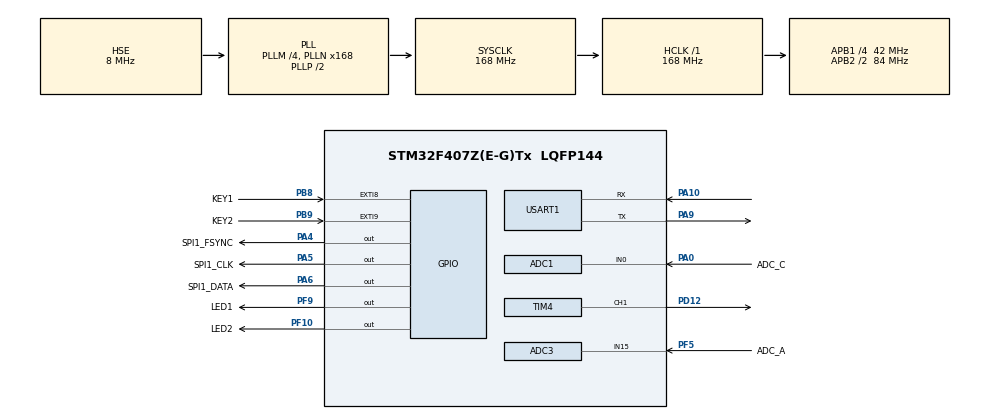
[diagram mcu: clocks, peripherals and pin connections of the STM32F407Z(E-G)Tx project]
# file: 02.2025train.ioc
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ADC1.Channel-0\#ChannelRegularConversion=ADC_CHANNEL_0
ADC1.DMAContinuousRequests=ENABLE
ADC1.ExternalTrigConv=ADC_EXTERNALTRIGCONV_T3_TRGO
ADC1.InjNumberOfConversion=0
ADC1.Mode=__NULL
ADC1.NbrOfConversion=1
ADC1.NbrOfConversionFlag=1
ADC1.Rank-0\#ChannelRegularConversion=1
ADC1.SamplingTime-0\#ChannelRegularConversion=ADC_SAMPLETIME_3CYCLES
ADC1.ScanConvMode=DISABLE
ADC1.master=1
ADC3.Channel-0\#ChannelRegularConversion=ADC_CHANNEL_15
ADC3.DMAContinuousRequests=ENABLE
ADC3.ExternalTrigConv=ADC_EXTERNALTRIGCONV_T3_TRGO
ADC3.NbrOfConversionFlag=1
ADC3.Rank-0\#ChannelRegularConversion=1
ADC3.SamplingTime-0\#ChannelRegularConversion=ADC_SAMPLETIME_3CYCLES
Dma.ADC1.0.Direction=DMA_PERIPH_TO_MEMORY
Dma.ADC1.0.FIFOMode=DMA_FIFOMODE_DISABLE
Dma.ADC1.0.Instance=DMA2_Stream0
Dma.ADC1.0.MemDataAlignment=DMA_MDATAALIGN_HALFWORD
Dma.ADC1.0.MemInc=DMA_MINC_ENABLE
Dma.ADC1.0.Mode=DMA_NORMAL
Dma.ADC1.0.PeriphDataAlignment=DMA_PDATAALIGN_HALFWORD
Dma.ADC1.0.PeriphInc=DMA_PINC_DISABLE
Dma.ADC1.0.Priority=DMA_PRIORITY_VERY_HIGH
Dma.ADC3.1.Direction=DMA_PERIPH_TO_MEMORY
Dma.ADC3.1.FIFOMode=DMA_FIFOMODE_DISABLE
Dma.ADC3.1.Instance=DMA2_Stream1
Dma.ADC3.1.MemDataAlignment=DMA_MDATAALIGN_HALFWORD
Dma.ADC3.1.MemInc=DMA_MINC_ENABLE
Dma.ADC3.1.Mode=DMA_NORMAL
Dma.ADC3.1.PeriphDataAlignment=DMA_PDATAALIGN_HALFWORD
Dma.ADC3.1.PeriphInc=DMA_PINC_DISABLE
Dma.ADC3.1.Priority=DMA_PRIORITY_VERY_HIGH
Dma.Request0=ADC1
Dma.Request1=ADC3
Mcu.Family=STM32F4
Mcu.Name=STM32F407Z(E-G)Tx
Mcu.Package=LQFP144
NVIC.DMA2_Stream0_IRQn=true\:0\:0\:false\:false\:true\:false\:true\:true
NVIC.DMA2_Stream1_IRQn=true\:0\:0\:false\:false\:true\:false\:true\:true
NVIC.EXTI9_5_IRQn=true\:1\:0\:true\:false\:true\:true\:true\:true
NVIC.PriorityGroup=NVIC_PRIORITYGROUP_4
NVIC.USART1_IRQn=true\:1\:0\:true\:false\:true\:true\:true\:true
PA0-WKUP.GPIO_Label=ADC_C
PA0-WKUP.Signal=ADCx_IN0
PA10.Mode=Asynchronous
PA10.Signal=USART1_RX
PA13.Mode=Serial_Wire
PA13.Signal=SYS_JTMS-SWDIO
PA14.Mode=Serial_Wire
PA14.Signal=SYS_JTCK-SWCLK
PA4.GPIO_Label=SPI1_FSYNC
PA4.GPIO_Speed=GPIO_SPEED_FREQ_VERY_HIGH
PA4.PinState=GPIO_PIN_SET
PA4.Signal=GPIO_Output
PA5.GPIO_Label=SPI1_CLK
PA5.GPIO_Speed=GPIO_SPEED_FREQ_VERY_HIGH
PA5.PinState=GPIO_PIN_RESET
PA5.Signal=GPIO_Output
PA6.GPIO_Label=SPI1_DATA
PA6.GPIO_Speed=GPIO_SPEED_FREQ_VERY_HIGH
PA6.Signal=GPIO_Output
PA9.Mode=Asynchronous
PA9.Signal=USART1_TX
PB8.GPIO_Label=KEY1
PB8.GPIO_ModeDefaultEXTI=GPIO_MODE_IT_RISING_FALLING
PB8.GPIO_PuPd=GPIO_PULLUP
PB8.Signal=GPXTI8
PB9.GPIO_Label=KEY2
PB9.GPIO_ModeDefaultEXTI=GPIO_MODE_IT_RISING_FALLING
PB9.GPIO_PuPd=GPIO_PULLUP
PB9.Signal=GPXTI9
PD12.Signal=S_TIM4_CH1
PF10.GPIO_Label=LED2
PF10.GPIO_Speed=GPIO_SPEED_FREQ_VERY_HIGH
PF10.PinState=GPIO_PIN_SET
PF10.Signal=GPIO_Output
PF5.GPIO_Label=ADC_A
PF5.Mode=IN15
PF5.Signal=ADC3_IN15
PF9.GPIO_Label=LED1
PF9.GPIO_Speed=GPIO_SPEED_FREQ_VERY_HIGH
PF9.PinState=GPIO_PIN_SET
PF9.Signal=GPIO_Output
PH0-OSC_IN.Mode=HSE-External-Oscillator
PH0-OSC_IN.Signal=RCC_OSC_IN
PH1-OSC_OUT.Mode=HSE-External-Oscillator
PH1-OSC_OUT.Signal=RCC_OSC_OUT
ProjectManager.HeapSize=0x200
ProjectManager.StackSize=0x400
ProjectManager.TargetToolchain=MDK-ARM V5.32
RCC.48MHZClocksFreq_Value=84000000
RCC.AHBFreq_Value=168000000
RCC.APB1CLKDivider=RCC_HCLK_DIV4
RCC.APB1Freq_Value=42000000
RCC.APB1TimFreq_Value=84000000
RCC.APB2CLKDivider=RCC_HCLK_DIV2
RCC.APB2Freq_Value=84000000
RCC.APB2TimFreq_Value=168000000
RCC.CortexFreq_Value=168000000
RCC.HCLKFreq_Value=168000000
RCC.HSE_VALUE=8000000
RCC.HSI_VALUE=16000000
RCC.LSE_VALUE=32768
RCC.PLLM=4
RCC.PLLN=168
RCC.PLLSourceVirtual=RCC_PLLSOURCE_HSE
RCC.SYSCLKFreq_VALUE=168000000
RCC.SYSCLKSource=RCC_SYSCLKSOURCE_PLLCLK
RCC.VCOOutputFreq_Value=336000000
SH.ADCx_IN0.0=ADC1_IN0,IN0
SH.S_TIM4_CH1.0=TIM4_CH1,PWM Generation1 CH1
STMicroelectronics.X-CUBE-ALGOBUILD.1.4.0.LibraryCcDSPOoLibraryJjDSPOoLibrary=true
TIM3.Period=83
TIM3.Prescaler=1
TIM3.TIM_MasterOutputTrigger=TIM_TRGO_UPDATE
TIM4.Channel-PWM\ Generation1\ CH1=TIM_CHANNEL_1
TIM4.Period=83
TIM4.Pulse-PWM\ Generation1\ CH1=42
USART1.VirtualMode=VM_ASYNC
VP_STMicroelectronics.X-CUBE-ALGOBUILD_VS_DSPOoLibraryJjLibrary_1.4.0_1.4.0.Mode=DSPOoLibraryJjLibrary
VP_TIM3_VS_ClockSourceINT.Mode=Internal
VP_TIM4_VS_ClockSourceINT.Mode=Internal
board=custom

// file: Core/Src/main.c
/* USER CODE BEGIN Header */
/**
  ******************************************************************************
  * @file           : main.c
  * @brief          : Main program body
  ******************************************************************************
  * @attention
  *
  * Copyright (c) 2025 STMicroelectronics.
  * All rights reserved.
  *
  * This software is licensed under terms that can be found in the LICENSE file
  * in the root directory of this software component.
  * If no LICENSE file comes with this software, it is provided AS-IS.
  *
  ******************************************************************************
  */
/* USER CODE END Header */
#include "main.h"
#include "adc.h"
#include "dma.h"
#include "tim.h"
#include "usart.h"
#include "gpio.h"

/* USER CODE BEGIN Includes */
#include "led.h"
#include "key.h"
#include "hmi.h"
#include "dds.h"
#include "fft.h"
/* USER CODE END Includes */

void SystemClock_Config(void);

/* USER CODE BEGIN 0 */

uint8_t fft_debug = 0;        // FFT 调试标志
uint8_t process_state = 0;    // 处理状态
float freqA_temp = 0.0f;
float freqA_temp_ = 0.0f;

uint32_t Word_count[201] = { 0 };
uint32_t center_Word = 0;
uint16_t total_fine_count = 1024;
uint16_t fine_count = 0;

/* USER CODE END 0 */

int main(void)
{

  /* MCU Configuration--------------------------------------------------------*/

  /* Reset of all peripherals, Initializes the Flash interface and the Systick. */
  HAL_Init();

  /* Configure the system clock */
  SystemClock_Config();

  /* Initialize all configured peripherals */
  MX_GPIO_Init();
  MX_DMA_Init();
  MX_USART1_UART_Init();
  MX_ADC1_Init();
  MX_TIM4_Init();
  MX_TIM3_Init();
  MX_ADC3_Init();

  /* Infinite loop */
  /* USER CODE BEGIN WHILE */

  HMI_Init();
  DDS_Init();

  while (1)
  {
    if (adc_completed)
    {
      if (fft_debug)    // FFT 调试，显示 adc 数据和 fft 频谱
      {
        fft_debug = 0;
        FFT_PrepareData(adc_raw);
        FFT_Process(1);
        HMI_UpdateADC();
        HMI_UpdateFFT();
        int index = 0;
        index = HMI_AddString("frequency: ", index);
        index = HMI_AddDouble(FFT_GetBaseFrequency(fft_main_index_B), index, 4);
        index = HMI_AddString(" Hz", index);
        HMI_SendDebug(index);
        index = 0;
        index = HMI_AddString("phase: ", index);
        index = HMI_AddDouble(FFT_GetPhase(fft_main_index_B), index, 4);
        HMI_SendDebug(index);
      }
      else
      {
        int index = 0;
        switch (process_state)
        {
        case 1:    // 重建信号
          LED1_On();
          FFT_PrepareData(adc_raw);
          FFT_Process(1);
          FFT_FindHarmonicValues();
          FFT_JudgeWaveform();

          float phase_A1 = FFT_GetPhase(fft_main_index_A);
          float phase_B1 = FFT_GetPhase(fft_main_index_B);
          FFT_PrepareData(adc_raw + SAMPLE_NUM);
          FFT_Process(1);
          float phase_A2 = FFT_GetPhase(fft_main_index_A);
          float phase_B2 = FFT_GetPhase(fft_main_index_B);
          float freq_A = FFT_CorrectFrequency(phase_A1, phase_A2, FFT_GetBaseFrequency(fft_main_index_A));
          float freq_B = FFT_CorrectFrequency(phase_B1, phase_B2, FFT_GetBaseFrequency(fft_main_index_B));
          DDS_SetWaveform(waveform_A);
          DDS_SetFreq(freq_A);
          fine_count = 0;

          HMI_DrawWaveform(freq_A, freq_B, waveform_A, waveform_B, fft_main_value_A, fft_main_value_B);

          index = 0;
          index = HMI_AddString("main.t0.txt=\"分析完成\r\n正在重建信号 C\"", index);
          HMI_SendOrder(index);

          HMI_ShowFreqA(freq_A, freq_A);
          HMI_ShowFreqB(freq_B);

          FFT_StartADC(&hadc1);
          process_state = 2;
          break;
        case 2:    // 微调频率
          if (adc_completed == 1)
          {
            FFT_PrepareData(adc_raw);
            FFT_Process(1);
            float phase_A1 = FFT_GetPhase(fft_main_index_A);
            FFT_PrepareData(adc_raw + SAMPLE_NUM);
            FFT_Process(1);
            float phase_A2 = FFT_GetPhase(fft_main_index_A);
            freqA_temp = FFT_CorrectFrequency(phase_A1, phase_A2, FFT_GetBaseFrequency(fft_main_index_A));

            HMI_ShowFreqA(freqA_temp, freqA_temp_);

            FFT_StartADC(&hadc3);
          }
          else if (adc_completed == 2)
          {
            FFT_PrepareData(adc_raw);
            FFT_Process(0);
            float phase_A1_ = FFT_GetPhase(fft_main_index_A);
            FFT_PrepareData(adc_raw + SAMPLE_NUM);
            FFT_Process(0);
            float phase_A2_ = FFT_GetPhase(fft_main_index_A);
            freqA_temp_ = FFT_CorrectFrequency(phase_A1_, phase_A2_, FFT_GetBaseFrequency(fft_main_index_A));
            HMI_ShowFreqA(freqA_temp, freqA_temp_);

            float diff = freqA_temp - freqA_temp_;
            if (diff < 0) { diff = -diff; }
            if (freqA_temp_ < freqA_temp) { DDS_SetFreqWord(DDS_GetFreqWord() + ((int)(1 + diff))); }
            else if (freqA_temp_ > freqA_temp) { DDS_SetFreqWord(DDS_GetFreqWord() - ((int)(1 + diff))); }
            fine_count++;
            if (fine_count == total_fine_count / 2)
            {
              center_Word = DDS_GetFreqWord();
              Word_count[100] = 1;
              for (uint16_t i = 0; i < sizeof(Word_count) / sizeof(Word_count[0]); i++)
              {
                Word_count[i] = 0;
              }
            }
            else if (fine_count > total_fine_count / 2)
            {
              Word_count[100 + DDS_GetFreqWord() - center_Word]++;
            }
            if (fine_count >= total_fine_count)
            {
              process_state = 0;
              uint32_t Word_temp = 0;
              uint16_t count = 0;
              for (uint32_t i = center_Word - 100; i <= center_Word + 100; i++)
              {
                Word_temp += Word_count[100 + i - center_Word] * i;
                count += Word_count[100 + i - center_Word];
              }
              DDS_SetFreqWord(Word_temp / count);
              index = 0;
              index = HMI_AddString("main.t0.txt=\"重建完成\"", index);
              HMI_SendOrder(index);
              LED1_Off();
            }
            else
            {
              FFT_StartADC(&hadc1);
            }
          }
          break;
        default:
          break;
        }
      }
      adc_completed = 0;
    }

    /* USER CODE END WHILE */

  }
}

void SystemClock_Config(void)
{
  RCC_OscInitTypeDef RCC_OscInitStruct = {0};
  RCC_ClkInitTypeDef RCC_ClkInitStruct = {0};

  /** Configure the main internal regulator output voltage
  */
  __HAL_RCC_PWR_CLK_ENABLE();
  __HAL_PWR_VOLTAGESCALING_CONFIG(PWR_REGULATOR_VOLTAGE_SCALE1);

  /** Initializes the RCC Oscillators according to the specified parameters
  * in the RCC_OscInitTypeDef structure.
  */
  RCC_OscInitStruct.OscillatorType = RCC_OSCILLATORTYPE_HSE;
  RCC_OscInitStruct.HSEState = RCC_HSE_ON;
  RCC_OscInitStruct.PLL.PLLState = RCC_PLL_ON;
  RCC_OscInitStruct.PLL.PLLSource = RCC_PLLSOURCE_HSE;
  RCC_OscInitStruct.PLL.PLLM = 4;
  RCC_OscInitStruct.PLL.PLLN = 168;
  RCC_OscInitStruct.PLL.PLLP = RCC_PLLP_DIV2;
  RCC_OscInitStruct.PLL.PLLQ = 4;
  if (HAL_RCC_OscConfig(&RCC_OscInitStruct) != HAL_OK)
  {
    Error_Handler();
  }

  /** Initializes the CPU, AHB and APB buses clocks
  */
  RCC_ClkInitStruct.ClockType = RCC_CLOCKTYPE_HCLK|RCC_CLOCKTYPE_SYSCLK
                              |RCC_CLOCKTYPE_PCLK1|RCC_CLOCKTYPE_PCLK2;
  RCC_ClkInitStruct.SYSCLKSource = RCC_SYSCLKSOURCE_PLLCLK;
  RCC_ClkInitStruct.AHBCLKDivider = RCC_SYSCLK_DIV1;
  RCC_ClkInitStruct.APB1CLKDivider = RCC_HCLK_DIV4;
  RCC_ClkInitStruct.APB2CLKDivider = RCC_HCLK_DIV2;

  if (HAL_RCC_ClockConfig(&RCC_ClkInitStruct, FLASH_LATENCY_5) != HAL_OK)
  {
    Error_Handler();
  }
}

void Error_Handler(void)
{
  __disable_irq();
  while (1)
  {
  }
}
